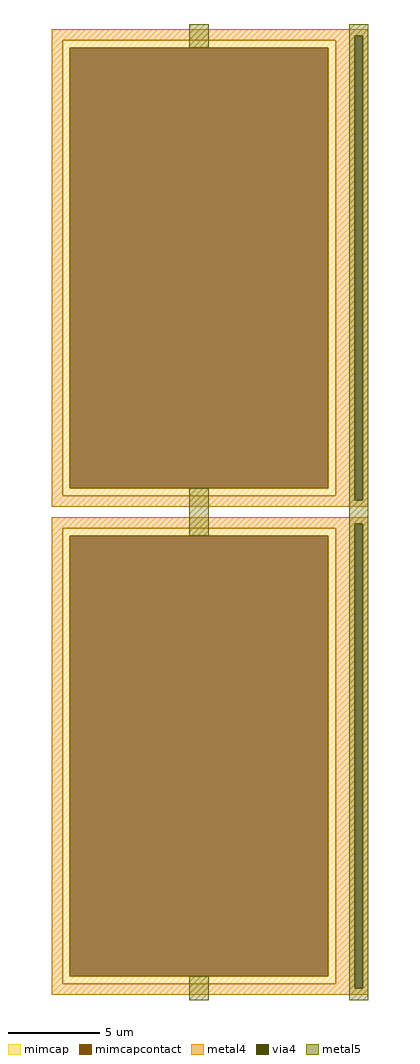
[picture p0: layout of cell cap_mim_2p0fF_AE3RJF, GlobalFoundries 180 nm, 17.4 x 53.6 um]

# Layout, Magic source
magic
tech gf180mcuC
magscale 1 10
<< mimcap >>
rect -1620 5100 1380 5180
rect -1620 260 -1540 5100
rect 1300 260 1380 5100
rect -1620 180 1380 260
rect -1620 -260 1380 -180
rect -1620 -5100 -1540 -260
rect 1300 -5100 1380 -260
rect -1620 -5180 1380 -5100
<< mimcapcontact >>
rect -1540 260 1300 5100
rect -1540 -5100 1300 -260
<< metal4 >>
rect -1740 5233 1740 5300
rect -1740 5180 1590 5233
rect -1740 180 -1620 5180
rect 1380 180 1590 5180
rect -1740 127 1590 180
rect 1678 127 1740 5233
rect -1740 60 1740 127
rect -1740 -127 1740 -60
rect -1740 -180 1590 -127
rect -1740 -5180 -1620 -180
rect 1380 -5180 1590 -180
rect -1740 -5233 1590 -5180
rect 1678 -5233 1740 -127
rect -1740 -5300 1740 -5233
<< via4 >>
rect 1590 127 1678 5233
rect 1590 -5233 1678 -127
<< metal5 >>
rect -226 5100 -14 5360
rect 1528 5233 1740 5360
rect -226 -260 -14 260
rect 1528 127 1590 5233
rect 1678 127 1740 5233
rect 1528 -127 1740 127
rect -226 -5360 -14 -5100
rect 1528 -5233 1590 -127
rect 1678 -5233 1740 -127
rect 1528 -5360 1740 -5233
<< properties >>
string FIXED_BBOX -1740 60 1500 5300
string gencell cap_mim_2p0fF
string library gf180mcu
string parameters w 15.00 l 25.00 val 10.975k carea 25.00 cperi 20.00 nx 1 ny 2 dummy 0 square 0 lmin 5.00 wmin 5.00 lmax 100.0 wmax 100.0 dc 0 bconnect 1 tconnect 1
<< end >>
